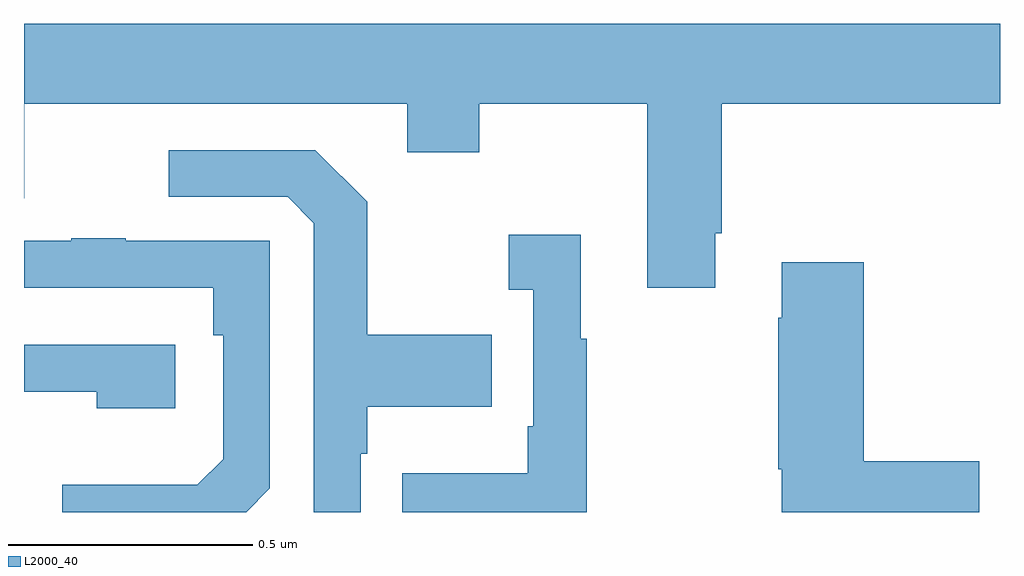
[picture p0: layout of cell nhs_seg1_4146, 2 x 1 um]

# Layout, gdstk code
import gdstk
lib = gdstk.Library(unit=1e-6, precision=1e-09)
def P(c, l, *ps):  # polygons
    for p in ps: c.add(gdstk.Polygon(p, *l))
L2000_40 = (2000, 40)

nhs_seg1_4146 = lib.new_cell('nhs_seg1_4146')
P(nhs_seg1_4146, L2000_40, [(163.417,580.771),(163.43,580.771),(163.43,581.036),(164,581.036),(164,581.2),(162,581.2),(162,580.842),(162.001,580.842),(162.001,581.036),(162.785,581.036),(162.785,580.937),(162.933,580.937),(162.933,581.036),(163.277,581.036),(163.277,580.659),(163.417,580.659)],
  [(162.69,580.319),(162.703,580.319),(162.703,580.415),(162.959,580.415),(162.959,580.563),(162.703,580.563),(162.703,580.835),(162.597,580.941),(162.297,580.941),(162.297,580.845),(162.54,580.845),(162.594,580.791),(162.594,580.199),(162.69,580.199)],
  [(163.153,580.555),(163.141,580.555),(163.141,580.768),(162.993,580.768),(162.993,580.655),(163.044,580.655),(163.044,580.375),(163.032,580.375),(163.032,580.279),(162.775,580.279),(162.775,580.199),(163.153,580.199)],
  [(162.504,580.248),(162.504,580.755),(162.209,580.755),(162.209,580.76),(162.097,580.76),(162.097,580.755),(162,580.755),(162,580.659),(162.388,580.659),(162.388,580.562),(162.408,580.562),(162.408,580.308),(162.355,580.255),(162.078,580.255),(162.078,580.199),(162.455,580.199)],
  [(163.957,580.304),(163.721,580.304),(163.721,580.711),(163.553,580.711),(163.553,580.598),(163.546,580.598),(163.546,580.287),(163.553,580.287),(163.553,580.199),(163.957,580.199)],
  [(162.31,580.542),(162,580.542),(162,580.446),(162.149,580.446),(162.149,580.412),(162.31,580.412)])

lib.write_gds('nhs_seg1_4146.gds')
